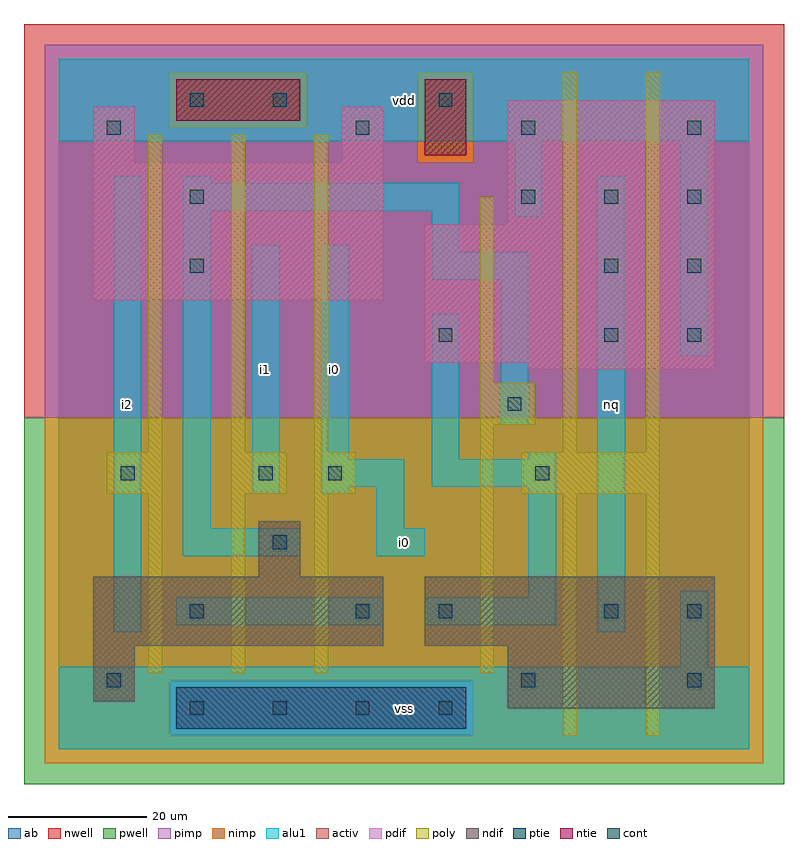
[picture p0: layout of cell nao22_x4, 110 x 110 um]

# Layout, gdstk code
import gdstk
lib = gdstk.Library(unit=1e-6, precision=1e-09)
def R(c, l, rs):  # rectangles x0, y0, x1, y1
    for r in rs: c.add(gdstk.rectangle(r[:2], r[2:], *l))
def A(c, l, x, y, w, h, nx, ny, dx, dy):  # array of equal rectangles
    R(c, l, [(x+i*dx, y+j*dy, x+i*dx+w, y+j*dy+h) for i in range(nx) for j in range(ny)])
ndif = (3, 0)
pdif = (4, 0)
ntie = (5, 0)
ptie = (6, 0)
cont = (25, 0)
pwell = (41, 0)
nwell = (42, 0)
activ = (43, 0)
pimp = (44, 0)
nimp = (45, 0)
poly = (46, 0)
alu1 = (49, 0)
ab = (63, 0)

nao22_x4 = lib.new_cell('nao22_x4')
R(nao22_x4, ndif, [(65,6,95,15), (5,7,11,15), (5,15,47,25), (53,15,95,25), (29,25,35,33)])
R(nao22_x4, pdif, [(68,55,95,56), (53,56,95,76), (5,65,47,85), (65,76,95,94), (5,85,11,93), (41,85,47,93)])
R(nao22_x4, ntie, [(53,86,59,97), (17,91,35,97)])
R(nao22_x4, ptie, [(17,3,59,9)])
A(nao22_x4, cont, 19, 5, 2, 2, 4, 1, 12, 0)
A(nao22_x4, cont, 67, 79, 2, 2, 3, 1, 12, 0)
A(nao22_x4, cont, 43, 89, 2, 2, 3, 1, 24, 0)
R(nao22_x4, cont, [(7,9,9,11), (67,9,69,11), (91,9,93,11), (19,19,21,21), (43,19,45,21), (55,19,57,21), (79,19,81,21), (91,19,93,21), (31,29,33,31), (9,39,11,41), (29,39,31,41), (39,39,41,41), (69,39,71,41), (65,49,67,51), (55,59,57,61), (79,59,81,61), (91,59,93,61), (19,69,21,71), (79,69,81,71), (91,69,93,71), (19,79,21,81), (7,89,9,91), (19,93,21,95), (31,93,33,95), (55,93,57,95)])
R(nao22_x4, pwell, [(-5,-5,105,48)])
R(nao22_x4, nwell, [(-5,48,105,105)])
R(nao22_x4, activ, [(17,3,59,9), (65,6,95,15), (5,7,11,15), (5,15,47,25), (53,15,95,25), (29,25,35,33), (68,55,95,56), (53,56,95,76), (5,65,47,85), (65,76,95,94), (5,85,11,93), (41,85,47,93), (53,86,59,97), (17,91,35,97)])
R(nao22_x4, pimp, [(16,2,60,10), (-2,48,102,85), (-2,85,52,90), (60,85,102,98), (-2,90,16,98), (36,90,52,98), (-2,98,102,102)])
R(nao22_x4, nimp, [(-2,-2,102,2), (-2,2,16,10), (60,2,102,10), (-2,10,102,48), (52,85,60,98), (16,90,36,98)])
A(nao22_x4, poly, 13, 11, 2, 26, 3, 1, 12, 0)
A(nao22_x4, poly, 13, 43, 2, 46, 3, 1, 12, 0)
R(nao22_x4, poly, [(73,2,75,37), (85,2,87,37), (61,11,63,47), (7,37,15,43), (25,37,33,43), (37,37,43,43), (67,37,87,43), (73,43,75,98), (85,43,87,98), (61,47,69,53), (61,53,63,80)])
R(nao22_x4, alu1, [(0,0,100,12), (90,12,94,23), (8,17,12,83), (78,17,82,83), (17,18,47,22), (53,18,72,22), (68,22,72,38), (18,28,35,32), (46,28,53,32), (18,32,22,78), (46,32,50,38), (28,37,32,73), (38,37,42,38), (38,38,50,42), (54,38,72,42), (38,42,42,73), (54,42,58,63), (68,42,72,43), (64,47,68,68), (90,57,94,88), (54,68,68,72), (54,72,58,78), (66,77,70,88), (18,78,58,82), (18,82,22,83), (0,88,100,100)])
R(nao22_x4, ab, [(0,0,100,100)])
nao22_x4.add(gdstk.Label('i2', (10,50), layer=49, texttype=0))
nao22_x4.add(gdstk.Label('i0', (40,55), layer=49, texttype=0))
nao22_x4.add(gdstk.Label('i1', (30,55), layer=49, texttype=0))
nao22_x4.add(gdstk.Label('vss', (50,6), layer=49, texttype=0))
nao22_x4.add(gdstk.Label('i0', (50,30), layer=49, texttype=0))
nao22_x4.add(gdstk.Label('vdd', (50,94), layer=49, texttype=0))
nao22_x4.add(gdstk.Label('nq', (80,50), layer=49, texttype=0))

lib.write_gds('nao22_x4.gds')
